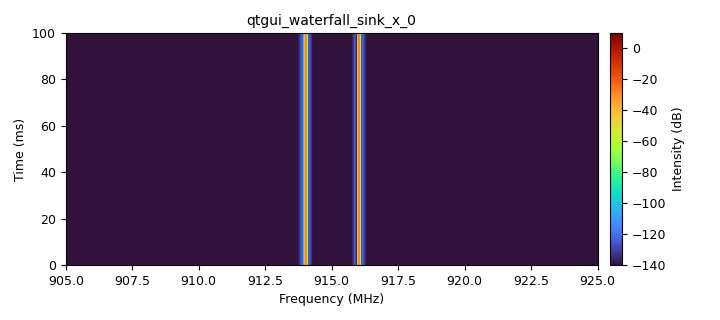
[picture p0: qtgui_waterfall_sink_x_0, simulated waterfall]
options:
  parameters:
    author: ucanlab
    generate_options: qt_gui
    id: Video1
    output_language: python
    title: 'Intro into SDR: USRP'
  states: {}

blocks:
- name: interp
  id: variable
  parameters:
    value: '20'
  states: {}
- name: samp_rate
  id: variable
  parameters:
    value: '20000000'
  states: {}
- name: analog_const_source_x_0
  id: analog_const_source_x
  parameters:
    const: '0'
    type: float
  states: {}
- name: analog_sig_source_x_1
  id: analog_sig_source_x
  parameters:
    amp: '0.25'
    freq: '1000000'
    offset: '0'
    phase: '0'
    samp_rate: samp_rate
    type: float
    waveform: analog.GR_COS_WAVE
  states: {}
- name: blocks_float_to_complex_0
  id: blocks_float_to_complex
  parameters: {}
  states: {}
- name: blocks_throttle_0
  id: blocks_throttle
  parameters:
    samples_per_second: samp_rate
    type: complex
  states: {}
- name: note_1
  id: note
  parameters:
    note: Real Sinusoid
  states: {}
- name: qtgui_waterfall_sink_x_0
  id: qtgui_waterfall_sink_x
  parameters:
    bw: samp_rate
    fc: '915000000'
    fftsize: '1024'
    type: complex
    wintype: firdes.WIN_BLACKMAN_hARRIS
  states: {}

connections:
- [analog_const_source_x_0, '0', blocks_float_to_complex_0, '1']
- [analog_sig_source_x_1, '0', blocks_float_to_complex_0, '0']
- [blocks_float_to_complex_0, '0', blocks_throttle_0, '0']
- [blocks_throttle_0, '0', qtgui_waterfall_sink_x_0, '0']

metadata:
  file_format: 1
